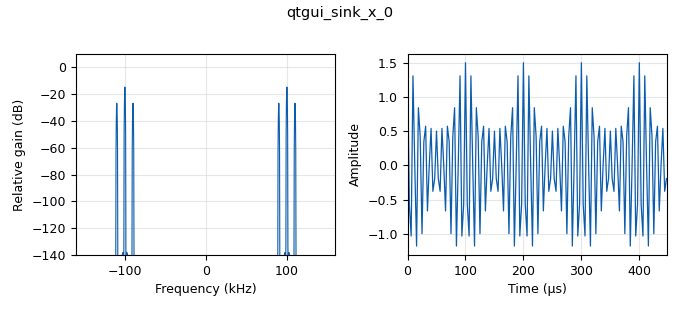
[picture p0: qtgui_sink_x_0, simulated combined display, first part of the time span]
options:
  parameters:
    generate_options: qt_gui
    id: dsbsc_modulation
    output_language: python
    title: Not titled yet
  states: {}

blocks:
- name: fc
  id: variable_qtgui_range
  parameters:
    start: '5000'
    step: '50'
    stop: '15000'
    value: '10000'
  states: {}
- name: fm
  id: variable_qtgui_range
  parameters:
    start: '5000'
    step: '50'
    stop: '100000'
    value: '100000'
  states: {}
- name: mi
  id: variable_qtgui_range
  parameters:
    start: '1'
    step: '1'
    stop: '10'
    value: '10'
  states: {}
- name: samp_rate
  id: variable
  parameters:
    value: '320000'
  states: {}
- name: analog_sig_source_x_0
  id: analog_sig_source_x
  parameters:
    amp: '1'
    freq: fc
    offset: '0'
    phase: '0'
    samp_rate: samp_rate
    type: float
    waveform: analog.GR_COS_WAVE
  states: {}
- name: analog_sig_source_x_1
  id: analog_sig_source_x
  parameters:
    amp: '1'
    freq: fm
    offset: '0'
    phase: '0'
    samp_rate: samp_rate
    type: float
    waveform: analog.GR_COS_WAVE
  states: {}
- name: blocks_add_const_vxx_0
  id: blocks_add_const_vxx
  parameters:
    const: '1'
    type: float
  states: {}
- name: blocks_multiply_const_vxx_0
  id: blocks_multiply_const_vxx
  parameters:
    const: '0.5'
    type: float
  states: {}
- name: blocks_multiply_xx_0
  id: blocks_multiply_xx
  parameters:
    type: float
  states: {}
- name: blocks_throttle2_0
  id: blocks_throttle2
  parameters:
    samples_per_second: samp_rate
    type: float
  states: {}
- name: qtgui_sink_x_0
  id: qtgui_sink_x
  parameters:
    bw: samp_rate
    fc: '0'
    fftsize: '1024'
    type: float
  states: {}

connections:
- [analog_sig_source_x_0, '0', blocks_multiply_const_vxx_0, '0']
- [analog_sig_source_x_1, '0', blocks_multiply_xx_0, '1']
- [blocks_add_const_vxx_0, '0', blocks_multiply_xx_0, '0']
- [blocks_multiply_const_vxx_0, '0', blocks_add_const_vxx_0, '0']
- [blocks_multiply_xx_0, '0', blocks_throttle2_0, '0']
- [blocks_throttle2_0, '0', qtgui_sink_x_0, '0']

metadata:
  file_format: 1
  grc_version: 3.10.9.2
